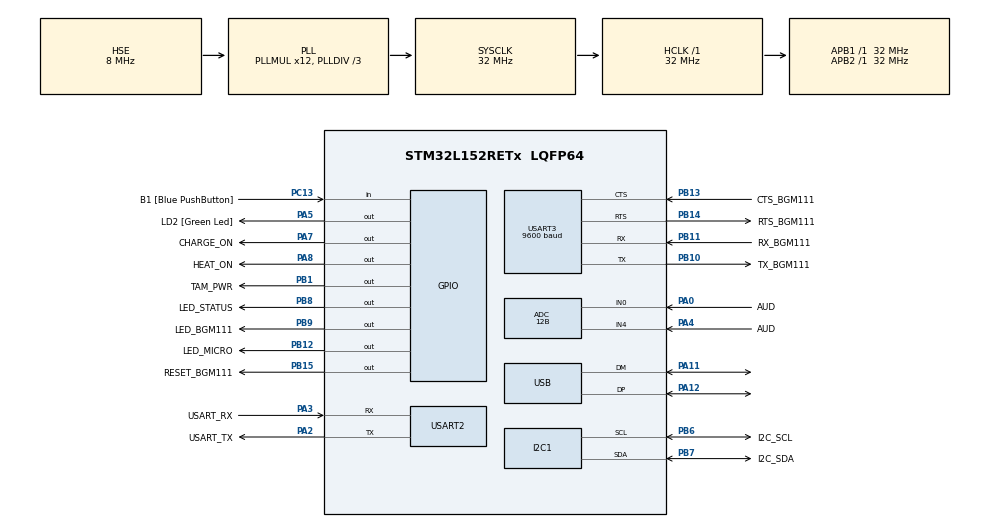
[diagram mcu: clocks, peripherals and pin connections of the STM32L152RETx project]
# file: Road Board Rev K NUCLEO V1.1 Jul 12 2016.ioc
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ADC.Channel-4\#ChannelRegularConversion=ADC_CHANNEL_0
ADC.ChannelsBank=ADC_CHANNELS_BANK_A
ADC.ClockPrescaler=ADC_CLOCK_ASYNC_DIV1
ADC.ContinuousConvMode=DISABLE
ADC.DMAContinuousRequests=DISABLE
ADC.DataAlign=ADC_DATAALIGN_RIGHT
ADC.DiscontinuousConvMode=DISABLE
ADC.EOCSelection=ADC_EOC_SEQ_CONV
ADC.EnableAnalogWatchDog=false
ADC.ExternalTrigConvEdge=ADC_EXTERNALTRIGCONVEDGE_NONE
ADC.InjNumberOfConversion=0
ADC.LowPowerAutoPowerOff=ADC_AUTOPOWEROFF_DISABLE
ADC.LowPowerAutoWait=ADC_AUTOWAIT_DISABLE
ADC.NbrOfConversion=1
ADC.NbrOfConversionFlag=1
ADC.Rank-4\#ChannelRegularConversion=1
ADC.Resolution=ADC_RESOLUTION_12B
ADC.SamplingTime-4\#ChannelRegularConversion=ADC_SAMPLETIME_4CYCLES
ADC.ScanConvMode=ADC_SCAN_DISABLE
Dma.ADC.0.Direction=DMA_PERIPH_TO_MEMORY
Dma.ADC.0.Instance=DMA1_Channel1
Dma.ADC.0.MemDataAlignment=DMA_MDATAALIGN_BYTE
Dma.ADC.0.MemInc=DMA_MINC_ENABLE
Dma.ADC.0.Mode=DMA_NORMAL
Dma.ADC.0.PeriphDataAlignment=DMA_PDATAALIGN_BYTE
Dma.ADC.0.PeriphInc=DMA_PINC_DISABLE
Dma.ADC.0.Priority=DMA_PRIORITY_VERY_HIGH
Dma.Request0=ADC
FREERTOS.Tasks01=defaultTask,0,128,StartDefaultTask,Default
Mcu.Family=STM32L1
Mcu.Name=STM32L152RETx
Mcu.Package=LQFP64
NVIC.DMA1_Channel1_IRQn=true\:5\:0\:false\:false\:true\:true
NVIC.PriorityGroup=NVIC_PRIORITYGROUP_4
NVIC.TIM4_IRQn=true\:0\:0\:false\:false\:true\:false
NVIC.TimeBase=TIM4_IRQn
NVIC.TimeBaseIP=TIM4
NVIC.USB_LP_IRQn=true\:5\:0\:false\:false\:true\:true
PA0-WKUP1.GPIO_Label=AUD
PA0-WKUP1.Mode=IN0
PA0-WKUP1.Signal=ADC_IN0
PA11.Mode=Device
PA11.Signal=USB_DM
PA12.Mode=Device
PA12.Signal=USB_DP
PA13.GPIO_Label=TMS
PA13.Mode=JTAG_4_pins
PA13.Signal=SYS_JTMS-SWDIO
PA14.GPIO_Label=TCK
PA14.Mode=JTAG_4_pins
PA14.Signal=SYS_JTCK-SWCLK
PA15.Mode=JTAG_4_pins
PA15.Signal=SYS_JTDI
PA2.GPIO_Label=USART_TX
PA2.Mode=Asynchronous
PA2.Signal=USART2_TX
PA3.GPIO_Label=USART_RX
PA3.Mode=Asynchronous
PA3.Signal=USART2_RX
PA4.GPIO_Label=AUD
PA4.Mode=IN4
PA4.Signal=ADC_IN4
PA5.GPIO_Label=LD2 [Green Led]
PA5.Signal=GPIO_Output
PA7.GPIO_Label=CHARGE_ON
PA7.Signal=GPIO_Output
PA8.GPIO_Label=HEAT_ON
PA8.Signal=GPIO_Output
PB1.GPIO_Label=TAM_PWR
PB1.Signal=GPIO_Output
PB10.GPIO_Label=TX_BGM111
PB10.Mode=Asynchronous
PB10.Signal=USART3_TX
PB11.GPIO_Label=RX_BGM111
PB11.Mode=Asynchronous
PB11.Signal=USART3_RX
PB12.GPIO_Label=LED_MICRO
PB12.Signal=GPIO_Output
PB13.GPIO_Label=CTS_BGM111
PB13.Mode=CTS_RTS
PB13.Signal=USART3_CTS
PB14.GPIO_Label=RTS_BGM111
PB14.Mode=CTS_RTS
PB14.Signal=USART3_RTS
PB15.GPIO_Label=RESET_BGM111
PB15.Signal=GPIO_Output
PB3.GPIO_Label=SWO
PB3.Mode=JTAG_4_pins
PB3.Signal=SYS_JTDO-TRACESWO
PB6.GPIO_Label=I2C_SCL
PB6.Mode=I2C
PB6.Signal=I2C1_SCL
PB7.GPIO_Label=I2C_SDA
PB7.Mode=I2C
PB7.Signal=I2C1_SDA
PB8.GPIO_Label=LED_STATUS
PB8.Signal=GPIO_Output
PB9.GPIO_Label=LED_BGM111
PB9.Signal=GPIO_Output
PC13-WKUP2.GPIO_Label=B1 [Blue PushButton]
PC13-WKUP2.Signal=GPIO_Input
PC14-OSC32_IN.GPIO_Label=NA
PC14-OSC32_IN.Signal=RCC_OSC32_IN
PC15-OSC32_OUT.GPIO_Label=NA
PC15-OSC32_OUT.Signal=RCC_OSC32_OUT
PH0-OSC_IN.Mode=HSE-External-Oscillator
PH0-OSC_IN.Signal=RCC_OSC_IN
PH1-OSC_OUT.Mode=HSE-External-Oscillator
PH1-OSC_OUT.Signal=RCC_OSC_OUT
ProjectManager.HeapSize=0x200
ProjectManager.StackSize=0x400
ProjectManager.TargetToolchain=EWARM
RCC.AHBFreq_Value=32000000
RCC.APB1Freq_Value=32000000
RCC.APB1TimFreq_Value=32000000
RCC.APB2Freq_Value=32000000
RCC.APB2TimFreq_Value=32000000
RCC.HCLKFreq_Value=32000000
RCC.HSE_VALUE=8000000
RCC.HSI_VALUE=16000000
RCC.LSE_VALUE=32768
RCC.MSI_VALUE=2097000
RCC.PLLDIV=RCC_PLL_DIV3
RCC.PLLMUL=RCC_PLL_MUL12
RCC.RTCClockSelectionVirtual=RCC_RTCCLKSOURCE_LSE
RCC.SYSCLKFreq_VALUE=32000000
RCC.SYSCLKSource=RCC_SYSCLKSOURCE_PLLCLK
RCC.USBOutput=48000000
RCC.VCOOutputFreq_Value=96000000
TIM2.Period=1000
TIM2.Prescaler=16000
TIM3.Period=2
TIM3.Prescaler=8000
USART3.BaudRate=9600
USB_DEVICE.CLASS_NAME_FS=CDC
USB_DEVICE.USBD_HandleTypeDef=hUsbDeviceFS
USB_DEVICE.VirtualMode=Cdc
USB_DEVICE.VirtualModeFS=Cdc_FS
VP_FREERTOS_VS_ENABLE.Mode=Enabled
VP_SYS_VS_tim4.Mode=TIM4
VP_TIM2_VS_ClockSourceINT.Mode=Internal
VP_TIM3_VS_ClockSourceINT.Mode=Internal
VP_USB_DEVICE_VS_USB_DEVICE_CDC_FS.Mode=CDC_FS
VP_WWDG_VS_WWDG.Mode=WWDG_Activate
WWDG.Prescaler=WWDG_PRESCALER_8
board=NUCLEO-L152RE

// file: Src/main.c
/**
  ******************************************************************************
  * File Name          : main.c
  * Description        : Main program body
  ******************************************************************************
  *
  * COPYRIGHT(c) 2016 STMicroelectronics
  *
  * Redistribution and use in source and binary forms, with or without modification,
  * are permitted provided that the following conditions are met:
  *   1. Redistributions of source code must retain the above copyright notice,
  *      this list of conditions and the following disclaimer.
  *   2. Redistributions in binary form must reproduce the above copyright notice,
  *      this list of conditions and the following disclaimer in the documentation
  *      and/or other materials provided with the distribution.
  *   3. Neither the name of STMicroelectronics nor the names of its contributors
  *      may be used to endorse or promote products derived from this software
  *      without specific prior written permission.
  *
  * THIS SOFTWARE IS PROVIDED BY THE COPYRIGHT HOLDERS AND CONTRIBUTORS "AS IS"
  * AND ANY EXPRESS OR IMPLIED WARRANTIES, INCLUDING, BUT NOT LIMITED TO, THE
  * IMPLIED WARRANTIES OF MERCHANTABILITY AND FITNESS FOR A PARTICULAR PURPOSE ARE
  * DISCLAIMED. IN NO EVENT SHALL THE COPYRIGHT HOLDER OR CONTRIBUTORS BE LIABLE
  * FOR ANY DIRECT, INDIRECT, INCIDENTAL, SPECIAL, EXEMPLARY, OR CONSEQUENTIAL
  * DAMAGES (INCLUDING, BUT NOT LIMITED TO, PROCUREMENT OF SUBSTITUTE GOODS OR
  * SERVICES; LOSS OF USE, DATA, OR PROFITS; OR BUSINESS INTERRUPTION) HOWEVER
  * CAUSED AND ON ANY THEORY OF LIABILITY, WHETHER IN CONTRACT, STRICT LIABILITY,
  * OR TORT (INCLUDING NEGLIGENCE OR OTHERWISE) ARISING IN ANY WAY OUT OF THE USE
  * OF THIS SOFTWARE, EVEN IF ADVISED OF THE POSSIBILITY OF SUCH DAMAGE.
  *
  ******************************************************************************
  */
#include "stm32l1xx_hal.h"
#include "cmsis_os.h"
#include "adc.h"
#include "dma.h"
#include "i2c.h"
#include "tim.h"
#include "usart.h"
#include "usb_device.h"
#include "wwdg.h"
#include "Flash.h"

/* USER CODE BEGIN Includes */
#include "stm32l1xx_nucleo.h"
#ifdef REV_L
  #include "bgm111.h"
  #include "app_data.h"
#endif
#include "gpio.h"
#include "main.h"
#include "parser.h"
#include "BootMonitor.h"
#include "stdbool.h"
#include "ErrorCodes.h"

/* USER CODE END Includes */

/* USER CODE BEGIN PV */
/* Private variables ---------------------------------------------------------*/

/* USER CODE END PV */

void SystemClock_Config(void);
void Error_Handler(void);
void MX_FREERTOS_Init(void);

/* USER CODE BEGIN PFP */
/* Private function prototypes -----------------------------------------------*/

/* USER CODE END PFP */

int main(void)
{
  /* USER CODE BEGIN 1 */
#define TEMP_BUFF2_SZ 80
  int x;
#ifdef TEST2
  #define RECEIVE_SZ      5
  uint8_t tempBffr[RECEIVE_SZ];
  char tempBffr2[5];
  HAL_StatusTypeDef Status;
#else
  #ifdef TEST
    #define RECEIVE_SZ      5
  #else
//HERE
    #define RECEIVE_SZ      125
    uint8_t tempBffr[RECEIVE_SZ];
    uint8_t tempBffr2[TEMP_BUFF2_SZ];
    HAL_StatusTypeDef Status;
  #endif
#endif

#ifdef REV_L
  //N uint16_t tmpSize = RECEIVE_SZ;
  //N uint8_t tmpData[2];
//  uint8_t tmpData[RECEIVE_SZ];
  Temperature   Temp;
#ifndef PATCH_UART
  bool firstTime = true;
#endif
  //N uint8_t *pData = tempBffr;
#endif

//ITStatus PStatus;

  /* USER CODE END 1 */

  /* MCU Configuration----------------------------------------------------------*/

#ifdef REV_L
  // Turn Off Power Supplies
  //RoadBrd_gpio_Off(gTAM_PWR);    // Turn Off 5V Power
  //RoadBrd_gpio_Off(gVDD_PWR);    // Turn Off 3.3V Power
#endif

  /* Reset of all peripherals, Initializes the Flash interface and the Systick. */
  HAL_Init();

  /* Configure the system clock */
  SystemClock_Config();

  /* Initialize all configured peripherals */
  MX_GPIO_Init();
  MX_DMA_Init();
  MX_ADC_Init();
  ADC_Config();
  MX_USART2_UART_Init();
  MX_USART3_UART_Init();
  MX_TIM2_Init();
  MX_TIM3_Init();

  /* USER CODE BEGIN 2 */
#ifdef REV_L
  // Wait for power to stabilize off...200msec
  //RoadBrd_Delay( 200 );
  // Turn on Power Supplies.
  RoadBrd_gpio_On(gTAM_PWR);    // Turn on 5V Power
  RoadBrd_gpio_On(gVDD_PWR);    // Turn on 3.3V Power
  // Wait for power to stabilize...200msec
  RoadBrd_Delay( 200 );
  // Reset all Drivers to Off before starting init process.
  Reset_DriverStates();

  // Enable Interrupts
  //---UART
  HAL_NVIC_EnableIRQ(USART2_IRQn);
  HAL_NVIC_EnableIRQ(USART3_IRQn);

  // Flush I2C Channel before testing...
  RoadBrd_I2CRepair();

  // Test I2C Channel and see if we even have a working I2C.
  RoadBrd_TestI2C();

  // Test for I2C Failure then attempt a repair.
  if ( !(Get_DriverStates( I2C_STATE )) )
  {
    if ((RoadBrd_I2CRepair()) == HAL_OK)
    {
      RdBrd_ErrCdLogErrCd( REPAIR_I2C, MODULE_main );
      Set_DriverStates( I2C_STATE, DRIVER_ON );
      // Now..Initialize I2C and test Drivers.
      MX_I2C1_Init();
    }
    else
    {
      // OK...It is hung.
      Set_DriverStates( I2C_STATE, DRIVER_OFF );
      RdBrd_ErrCdLogErrCd( ERROR_I2CBUSY, MODULE_main );
    }
  }
  else
  {
    // Now..Initialize I2C and test Drivers.
    MX_I2C1_Init();
  }

  //---I2C1
  HAL_NVIC_EnableIRQ(I2C1_EV_IRQn);
  HAL_NVIC_EnableIRQ(I2C1_ER_IRQn);
  //---TIM
#ifndef PATCH_UART
  HAL_TIM_StartTimer2();
  HAL_TIM_StartTimer3();
  HAL_NVIC_EnableIRQ(TIM2_IRQn);
  HAL_NVIC_EnableIRQ(TIM3_IRQn);
#endif
  // Test I2C State.

  // Test I2C Status and Task init I2C if Active driver.
  if ( !(Get_DriverStates( I2C_STATE )) )
  {
    // Wait 35  ms. For Busy flag to drop.
    if(I2C_WaitBusyFlag() != HAL_OK)
    {
      // One More try at repairing hung I2C Channel.
      if ((RoadBrd_I2CRepair()) == HAL_OK)
      {
        Set_DriverStates( I2C_STATE, DRIVER_ON );
        RdBrd_ErrCdLogErrCd( REPAIR_I2C, MODULE_main );
        // Now..Initialize I2C and test Drivers.
        MX_I2C1_Init();
      }
      else
      {
        // OK...It is hung.
        Set_DriverStates( I2C_STATE, DRIVER_OFF );
        RdBrd_ErrCdLogErrCd( ERROR_I2CBUSY, MODULE_main );
      }
    }
  }

  //BGM Initialization
#ifndef TEST2
#ifndef PATCH_UART
  BGM111_Init();
#else
  RoadBrd_gpio_Off(gRESET_BGM111);
#endif
#endif

  // Test I2C Status and Task init I2C if Active driver.
  if ( Get_DriverStates( I2C_STATE ) )
  {
    Status = RoadBrd_RGBInit();
    if (Status == HAL_OK)
    {
      Set_DriverStates( IRRADIANCE_MNTR_TASK, DRIVER_ON );
    }
    else
    {
      RdBrd_ErrCdLogErrCd( ERROR_RGB_INIT, MODULE_main );
      Set_DriverStates( IRRADIANCE_MNTR_TASK, DRIVER_OFF );
    }

    // Initialize Voltage Monitor Hardware
    Status = RoadBrd_Init_VMonitor();
    if (Status == HAL_OK)
    {
      Set_DriverStates( VOLTAGE_MNTR_TASK, DRIVER_ON );
    }
    else
    {
      RdBrd_ErrCdLogErrCd( ERROR_VMNTR_INIT, MODULE_main );
      Set_DriverStates( VOLTAGE_MNTR_TASK, DRIVER_OFF );
    }

    // Initialize Grid Eye Hardware
    Status = RoadBrd_GridEyeInit();
    if (Status == HAL_OK)
    {
      Set_DriverStates( GRIDEYE_MNTR_TASK, DRIVER_ON );
    }
    else
    {
      RdBrd_ErrCdLogErrCd( ERROR_GDEYE_INIT, MODULE_main );
      Set_DriverStates( GRIDEYE_MNTR_TASK, DRIVER_OFF );
      // OK, We have no Grid Eye...Do we have a Cool Eye?
      Status = RoadBrd_CoolEyeInit();
      if (Status == HAL_OK)
      {
        Set_DriverStates( COOLEYE_MNTR_TASK, DRIVER_ON );
      }
      else
      {
        RdBrd_ErrCdLogErrCd( ERROR_CLEYE_INIT, MODULE_main );
        Set_DriverStates( COOLEYE_MNTR_TASK, DRIVER_OFF );
      }
  }

    // Initialize Pressure Sensor Hardware
    Status = RoadBrd_Init_Barometer();
    if (Status == HAL_OK)
    {
      Set_DriverStates( PRESSURE_MNTR_TASK, DRIVER_ON );
    }
    else
    {
      RdBrd_ErrCdLogErrCd( ERROR_PRESSURE_INIT, MODULE_main );
      Set_DriverStates( PRESSURE_MNTR_TASK, DRIVER_OFF );
    }

    // Initialize Humidity Sensor Hardware
    Status = RoadBrd_HumidityInit();
    if (Status == HAL_OK)
    {
      Set_DriverStates( HUMIDITY_MNTR_TASK, DRIVER_ON );
    }
    else
    {
      RdBrd_ErrCdLogErrCd( ERROR_HUMIDITY_INIT, MODULE_main );
      Set_DriverStates( HUMIDITY_MNTR_TASK, DRIVER_OFF );
    }

    // Test Temperature Sensor Hardware
    Status = RoadBrd_ReadTemp( &Temp );
    if (Status == HAL_OK)
    {
      Set_DriverStates( TEMPERATURE_MNTR_TASK, DRIVER_ON );
    }
    else
    {
      RdBrd_ErrCdLogErrCd( ERROR_TEMP_INIT, MODULE_main );
      Set_DriverStates( TEMPERATURE_MNTR_TASK, DRIVER_OFF );
    }
  } //EndIf ( Get_DriverStates( I2C_STATE )

  // Initialize key app vars.
  InitSensors();
  RoadBrd_ParserInit();                         // This initializes the Parse Tasking Structure.
  RoadBrd_WWDG_InitializeDateString();          // Initialize Date Tag From Server as NULL.
  RoadBrd_WWDG_InitializeTickString();          // Initialize Tick Tag From as NULL.
  //**
  //**
  //** Initialize all Flash Structures.
  //**
  //**
  //*******1. Initializ WWDG Flash Structure
  // 1a. Is WWDG Flash Frame Initialized?
  if (RoadBrd_WWDG_VerifyFrame())
  {
    //Yes....Set FRAME_TASK Bit in Driver State Variable.
    Set_DriverStates( FRAME_TASK, DRIVER_ON );
  } // EndIf (RoadBrd_WWDG_VerifyFrame())
  else
  {
    //No....1b. Attempt to Initialize WWDG Flash Frame.
    if (RoadBrd_WWDG_InitializeFrmFlash() != HAL_OK)
    {
      //FAILED....Indicate Error Code and Fail Driver State.
      RdBrd_ErrCdLogErrCd( ERROR_FRAME_INIT, MODULE_main );
      Set_DriverStates( FRAME_TASK, DRIVER_OFF );
    }
    else
    {
      //SUCCESS....Set FRAME_TASK Bit in Driver State Variable.
      Set_DriverStates( FRAME_TASK, DRIVER_ON );
    }
  } // EndElse (RoadBrd_WWDG_VerifyFrame())

  //*******2. Initializ Calibration Flash Structure
  // 2a. Is Calibration Flash Frame Initialized?
  if (RoadBrd_CAL_VerifyFrame())
  {
    //Yes....Set CAL_TASK Bit in Driver State Variable.
    Set_DriverStates( CAL_TASK, DRIVER_ON );
  } // EndIf (RoadBrd_WWDG_VerifyFrame())
  else
  {
    //No....2b. Attempt to Initialize Structure Flash Structure.
    if (RoadBrd_CAL_InitializeFrmFlash() != HAL_OK)
    {
      //FAILED....Indicate Error Code and Fail Driver State.
      RdBrd_ErrCdLogErrCd( ERROR_CAL_INIT, MODULE_main );
      Set_DriverStates( CAL_TASK, DRIVER_OFF );
    }
    else
    {
      //SUCCESS....Set FRAME_TASK Bit in Driver State Variable.
      Set_DriverStates( CAL_TASK, DRIVER_ON );
    }
  } // EndElse (RoadBrd_WWDG_VerifyFrame())

// Initialize Key Vars once Flash has been validated.
  // Initialize Key Timer Sampling Vars.
  Set_TickCounts( RoadBrd_Get_RdSndTickCnt(), RoadBrd_Get_SnsrTickCnt() );

  // Time to start WWDG..
  HAL_NVIC_EnableIRQ(WWDG_IRQn);
  MX_WWDG_Init();
  RoadBrd_WWDG_Start();

#endif

#ifdef TASKING
  /* USER CODE END 2 */

  /* Call init function for freertos objects (in freertos.c) */
  MX_FREERTOS_Init();

  /* Start scheduler */
  osKernelStart();

  /* We should never get here as control is now taken by the scheduler */

  /* Infinite loop */
  /* USER CODE BEGIN WHILE */
#else

  #ifdef TEST
      // Turn On Bluetooth Interface for Debug.
      RoadBrd_gpio_On( gRESET_BGM111 );
  #else
//    #ifndef TEST2
      #ifdef ASCII
        // Send Opening Banner for Monitor Code.
        #ifdef NUCLEO
//        strcpy( (char *)tempBffr2, "*********************  WEATHERCLOUD *********************\r\n\r\n");
          strcpy( (char *)tempBffr2, "\r\n\r\n");
          // Send string to UART..
#ifdef REV_L
          Status = RoadBrd_UART_Transmit_IT(NUCLEO_USART, (uint8_t *)tempBffr2);
          // Wait for msg to be completed.
          while (RoadBrd_Uart_Status(NUCLEO_USART) != SET)
          {
            RoadBrd_WWDG_Refresh();     // Refresh WatchDog
          }
          // Clear State for Next Transfer.
          clrUsartState( NUCLEO_USART );
#else
          Status = RoadBrd_UART_Transmit(NUCLEO_USART, (uint8_t *)tempBffr2);
          RoadBrd_WWDG_Refresh();     // Refresh WatchDog
#endif
          if (Status != HAL_OK)
            Error_Handler();
          sprintf( (char *)tempBffr2, "     Road Board Monitor %s Hardware Version %s \r\n", VERSION_NUM, BRD_REV);
          //strcpy( (char *)tempBffr2, "     Road Board Monitor Rev K Hardware Version 1.0 \r\n");
          // Send string to UART..
#ifdef REV_L
          Status = RoadBrd_UART_Transmit_IT(NUCLEO_USART, (uint8_t *)tempBffr2);
          // Wait for msg to be completed.
          while (RoadBrd_Uart_Status(NUCLEO_USART) != SET)
          {
          }
          // Clear State for Next Transfer.
          clrUsartState( NUCLEO_USART );
#else
          Status = RoadBrd_UART_Transmit(NUCLEO_USART, (uint8_t *)tempBffr2);
#endif
          if (Status != HAL_OK)
            Error_Handler();
          sprintf( (char *)tempBffr2, "                  Copyright %s. \r\n\r\n", REL_DATE);
          //strcpy( (char *)tempBffr2, "                  Copyright August 9, 2016. \r\n\r\n\r\n> ");
          // Send string to UART..
          // *******Time to Build Extra Information...
#ifdef REV_L
          Status = RoadBrd_UART_Transmit_IT(NUCLEO_USART, (uint8_t *)tempBffr2);
          // Wait for msg to be completed.
          while (RoadBrd_Uart_Status(NUCLEO_USART) != SET)
          {
          }
          // Clear State for Next Transfer.
          clrUsartState( NUCLEO_USART );
#else
          Status = RoadBrd_UART_Transmit(NUCLEO_USART, (uint8_t *)tempBffr2);
#endif
          if (Status != HAL_OK)
            Error_Handler();
          sprintf( (char *)tempBffr2, "RdSnd Sample Rate:  %3.1f Seconds.\r\n", ((float)RoadBrd_Get_RdSndTickCnt()/10));
#ifdef REV_L
          Status = RoadBrd_UART_Transmit_IT(NUCLEO_USART, (uint8_t *)tempBffr2);
          // Wait for msg to be completed.
          while (RoadBrd_Uart_Status(NUCLEO_USART) != SET)
          {
          }
          // Clear State for Next Transfer.
          clrUsartState( NUCLEO_USART );
#else
          Status = RoadBrd_UART_Transmit(NUCLEO_USART, (uint8_t *)tempBffr2);
#endif
          if (Status != HAL_OK)
            Error_Handler();
          sprintf( (char *)tempBffr2, "Sensor Sample Rate: %3.1f Seconds.\r\n\r\n> ", ((float)RoadBrd_Get_SnsrTickCnt()/10));
#ifdef REV_L
          Status = RoadBrd_UART_Transmit_IT(NUCLEO_USART, (uint8_t *)tempBffr2);
          // Wait for msg to be completed.
          while (RoadBrd_Uart_Status(NUCLEO_USART) != SET)
          {
          }
          // Clear State for Next Transfer.
          clrUsartState( NUCLEO_USART );
#else
          Status = RoadBrd_UART_Transmit(NUCLEO_USART, (uint8_t *)tempBffr2);
#endif
          if (Status != HAL_OK)
            Error_Handler();
        #else
          strcpy( (char *)tempBffr2, "*********************  WEATHERCLOUD *********************\r\n\r\n");
          // Send string to UART..
#ifdef REV_L
          Status = RoadBrd_UART_Transmit_IT(MONITOR_UART, (uint8_t *)tempBffr2);
          // Wait for msg to be completed.
          while (RoadBrd_Uart_Status(MONITOR_UART) != SET)
          {
            RoadBrd_WWDG_Refresh();     // Refresh WatchDog
          }
          // Clear State for Next Transfer.
          clrUsartState( MONITOR_UART );
#else
          Status = RoadBrd_UART_Transmit(MONITOR_UART, (uint8_t *)tempBffr2);
          RoadBrd_WWDG_Refresh();     // Refresh WatchDog
#endif
          if (Status != HAL_OK)
            Error_Handler();
          sprintf( (char *)tempBffr2, "     Road Board Monitor %s Hardware Version %s \r\n", VERSION_NUM, BRD_REV);
          //strcpy( (char *)tempBffr2, "     Road Board Monitor Rev K Hardware Version 1.0 \r\n");
          // Send string to UART..
#ifdef REV_L
          Status = RoadBrd_UART_Transmit_IT(MONITOR_UART, (uint8_t *)tempBffr2);
          // Wait for msg to be completed.
          while (RoadBrd_Uart_Status(MONITOR_UART) != SET)
          {
            RoadBrd_WWDG_Refresh();     // Refresh WatchDog
          }
          // Clear State for Next Transfer.
          clrUsartState( MONITOR_UART );
#else
          Status = RoadBrd_UART_Transmit(MONITOR_UART, (uint8_t *)tempBffr2);
          RoadBrd_WWDG_Refresh();     // Refresh WatchDog
#endif
          if (Status != HAL_OK)
            Error_Handler();
          sprintf( (char *)tempBffr2, "                  Copyright %s. \r\n\r\n", REL_DATE);
          //strcpy( (char *)tempBffr2, "                  Copyright August 9, 2016. \r\n\r\n\r\n> ");
          // Send string to UART..
#ifdef REV_L
          Status = RoadBrd_UART_Transmit_IT(MONITOR_UART, (uint8_t *)tempBffr2);
          // Wait for msg to be completed.
          while (RoadBrd_Uart_Status(MONITOR_UART) != SET)
          {
            RoadBrd_WWDG_Refresh();     // Refresh WatchDog
          }
          // Clear State for Next Transfer.
          clrUsartState( MONITOR_UART );
#else
          Status = RoadBrd_UART_Transmit(MONITOR_UART, (uint8_t *)tempBffr2);
          RoadBrd_WWDG_Refresh();     // Refresh WatchDog
#endif
          if (Status != HAL_OK)
            Error_Handler();
          // *******Time to Build Extra Information...
          sprintf( (char *)tempBffr2, "RdSnd Sample Rate:  %3.1f Seconds.\r\n", ((float)RoadBrd_Get_RdSndTickCnt()/10));
#ifdef REV_L
          Status = RoadBrd_UART_Transmit_IT(NUCLEO_USART, (uint8_t *)tempBffr2);
          // Wait for msg to be completed.
          while (RoadBrd_Uart_Status(NUCLEO_USART) != SET)
          {
          }
          // Clear State for Next Transfer.
          clrUsartState( NUCLEO_USART );
#else
          Status = RoadBrd_UART_Transmit(NUCLEO_USART, (uint8_t *)tempBffr2);
#endif
          if (Status != HAL_OK)
            Error_Handler();
          sprintf( (char *)tempBffr2, "Sensor Sample Rate: %3.1f Seconds.\r\n", ((float)RoadBrd_Get_SnsrTickCnt()/10));
#ifdef REV_L
          Status = RoadBrd_UART_Transmit_IT(NUCLEO_USART, (uint8_t *)tempBffr2);
          // Wait for msg to be completed.
          while (RoadBrd_Uart_Status(NUCLEO_USART) != SET)
          {
          }
          // Clear State for Next Transfer.
          clrUsartState( NUCLEO_USART );
#else
          Status = RoadBrd_UART_Transmit(NUCLEO_USART, (uint8_t *)tempBffr2);
#endif
          if (Status != HAL_OK)
            Error_Handler();
          // Clear Buffer
          for (x=0; x<TEMP_BUFF2_SZ; x++)
            tempBffr2[x] = 0x00;
          sprintf( (char *)tempBffr2, "TACK Limit: %d.\r\n", RoadBrd_Get_TackLimit() );
#ifdef REV_L
          Status = RoadBrd_UART_Transmit_IT(NUCLEO_USART, (uint8_t *)tempBffr2);
          // Wait for msg to be completed.
          while (RoadBrd_Uart_Status(NUCLEO_USART) != SET)
          {
          }
          // Clear State for Next Transfer.
          clrUsartState( NUCLEO_USART );
#else
          Status = RoadBrd_UART_Transmit(NUCLEO_USART, (uint8_t *)tempBffr2);
#endif
          if (Status != HAL_OK)
            Error_Handler();
          sprintf( (char *)tempBffr2, "Boot Delay: %d Seconds.\r\n", RoadBrd_Get_BootDelay() );
#ifdef REV_L
          Status = RoadBrd_UART_Transmit_IT(NUCLEO_USART, (uint8_t *)tempBffr2);
          // Wait for msg to be completed.
          while (RoadBrd_Uart_Status(NUCLEO_USART) != SET)
          {
          }
          // Clear State for Next Transfer.
          clrUsartState( NUCLEO_USART );
#else
          Status = RoadBrd_UART_Transmit(NUCLEO_USART, (uint8_t *)tempBffr2);
#endif
          if (Status != HAL_OK)
            Error_Handler();
          // Now Display the Units Enabled State.
          if (RoadBrd_Get_UnitsFlag())
          {
            sprintf( (char *)tempBffr2, "Units XML State: ENABLED\r\n\r\n> ");
          }
          else
          {
            sprintf( (char *)tempBffr2, "Units XML State: DISABLED\r\n\r\n> ");
          }
#ifdef REV_L
          Status = RoadBrd_UART_Transmit_IT(NUCLEO_USART, (uint8_t *)tempBffr2);
          // Wait for msg to be completed.
          while (RoadBrd_Uart_Status(NUCLEO_USART) != SET)
          {
          }
          // Clear State for Next Transfer.
          clrUsartState( NUCLEO_USART );
#else
          Status = RoadBrd_UART_Transmit(NUCLEO_USART, (uint8_t *)tempBffr2);
#endif
          if (Status != HAL_OK)
            Error_Handler();
#ifdef BUG_ENABLE
          SCB->CCR |= 0x10;
          int a = 10;
          int b = 0;
          int c;
          c = a/b;
          sprintf( (char *)tempBffr2, "Bug Value Dump: %d\r\n\r\n> ",c);
  #ifdef REV_L
          Status = RoadBrd_UART_Transmit_IT(NUCLEO_USART, (uint8_t *)tempBffr2);
          // Wait for msg to be completed.
          while (RoadBrd_Uart_Status(NUCLEO_USART) != SET)
          {
          }
          // Clear State for Next Transfer.
          clrUsartState( NUCLEO_USART );
  #else
          Status = RoadBrd_UART_Transmit(NUCLEO_USART, (uint8_t *)tempBffr2);
  #endif
#endif
       #endif
//      #endif
    #endif
  #endif
  while (1)
  {
  /* USER CODE END WHILE */

  /* USER CODE BEGIN 3 */
  /****************************************************************************
    * TEST CODE....Blinks LEDs for both Road Board and Nucleo Board.
    **************************************************************************/
  #ifdef TEST
    #ifdef NUCLEO
      // Turn On NUCLEO_LED_GREEN LED.
      RoadBrd_gpio_On( NUCLEO_LED_GREEN );
      // Wait 500msec.
      RoadBrd_Delay( 500 );
      // Turn Off NUCLEO_LED_GREEN LED.
      RoadBrd_gpio_Off( NUCLEO_LED_GREEN );
    #else
      // Turn On Blue LED and turn off Yellow LED.
      RoadBrd_gpio_On( BLUE_LED );
      RoadBrd_gpio_Off( YELLOW_LED );
      // Wait 500msec.
      RoadBrd_Delay( 500 );
      // Turn On Green LED and turn off Blue LED.
      RoadBrd_gpio_On( GREEN_LED );
      RoadBrd_gpio_Off( BLUE_LED );
      // Wait 500msec.
      RoadBrd_Delay( 500 );
      // Turn On Yellow LED and turn off Green LED.
      RoadBrd_gpio_On( YELLOW_LED );
      RoadBrd_gpio_Off( GREEN_LED );
    #endif
    // Wait 500msec.
    RoadBrd_Delay( 500 );
  //******************Endif TEST
  #else
  //******************Else TEST

  /****************************************************************************
   * TEST2 CODE....Reads COM port and translates back to sender. Simple COMM test.
   **************************************************************************/
    #ifdef TEST2
      #ifdef NUCLEO
        // Turn Off NUCLEO_LED_GREEN LED.
        RoadBrd_gpio_Off( NUCLEO_LED_GREEN );
        // Wait on a character from Nucleo COM Port.
#ifdef REV_L
        Status = RoadBrd_UART_Receive_IT(NUCLEO_USART, tempBffr, 1);
        // Wait for msg to be completed.
        while (RoadBrd_Uart_Status(NUCLEO_USART) != SET)
        {
        }
        // Clear State for Next Transfer.
        clrUsartState( NUCLEO_USART );
#else
        Status = RoadBrd_UART_Receive(NUCLEO_USART, tempBffr, 1);
#endif
        // Turn On NUCLEO_LED_GREEN LED.
        RoadBrd_gpio_On( NUCLEO_LED_GREEN );
        switch(  Status)
        {
          case HAL_OK:
            // We have a good character. Time to build a response string.
            tempBffr2[0] = '(';
            tempBffr2[1] = tempBffr[0];
            tempBffr2[2] = ')';
            tempBffr2[3] = 0x00;
            // Send string to UART..
#ifdef REV_L
            Status = RoadBrd_UART_Transmit_IT(NUCLEO_USART, (uint8_t *)tempBffr2);
            // Wait for msg to be completed.
            while (RoadBrd_Uart_Status(NUCLEO_USART) != SET)
            {
            }
            // Clear State for Next Transfer.
            clrUsartState( NUCLEO_USART );
#else
            Status = RoadBrd_UART_Transmit(NUCLEO_USART, (uint8_t *)tempBffr2);
#endif
            if (Status != HAL_OK)
              Error_Handler();
            /*Status = RoadBrd_UART_Transmit_IT(NUCLEO_USART, (uint8_t *)tempBffr2);
            if (Status != HAL_OK)
              Error_Handler();
            // Now wait for completion of Transmit
            PStatus = RESET;
            while (PStatus == RESET)
            {
              PStatus = RoadBrd_Uart_Status(NUCLEO_USART);
            } */
            break;
          case HAL_ERROR:
            // ERROR. We are done.
            Error_Handler();
            break;
          case HAL_BUSY:
            // ERROR. We are done.
            Error_Handler();
            break;
          case HAL_TIMEOUT:
            // Nothing to do. Try again.
            break;
          default:
            // ERROR. We are done.
            Error_Handler();
            break;

        }
      // Wait 500msec.
      RoadBrd_Delay( 50 );
      #else
        // Turn Off BGM_LED LED.
        RoadBrd_gpio_Off( BGM_LED );
        // Wait on a character from Nucleo COM Port.
 #ifdef REV_L
        Status = RoadBrd_UART_Receive_IT(MONITOR_UART, tempBffr, 1);
        // Wait for msg to be completed.
        while (RoadBrd_Uart_Status(MONITOR_UART) != SET)
        {
        }
        // Clear State for Next Transfer.
        clrUsartState( MONITOR_UART );
#else
        Status = RoadBrd_UART_Receive(MONITOR_UART, tempBffr, 1);
#endif
        // Turn On BGM_LED LED.
        RoadBrd_gpio_On( BGM_LED );
        switch(  Status)
        {
          case HAL_OK:
            // We have a good character. Time to build a response string.
            tempBffr2[0] = '(';
            tempBffr2[1] = tempBffr[0];
            tempBffr2[2] = ')';
            tempBffr2[3] = 0x00;
            // Send string to UART..
#ifdef REV_L
            Status = RoadBrd_UART_Transmit_IT(MONITOR_UART, (uint8_t *)tempBffr2);
            // Wait for msg to be completed.
            while (RoadBrd_Uart_Status(MONITOR_UART) != SET)
            {
            }
            // Clear State for Next Transfer.
            clrUsartState( MONITOR_UART );
#else
            Status = RoadBrd_UART_Transmit(MONITOR_UART, (uint8_t *)tempBffr2);
#endif
            if (Status != HAL_OK)
              Error_Handler();
            /*Status = RoadBrd_UART_Transmit_IT(NUCLEO_USART, (uint8_t *)tempBffr2);
            if (Status != HAL_OK)
              Error_Handler();
            // Now wait for completion of Transmit
            PStatus = RESET;
            while (PStatus == RESET)
            {
              PStatus = RoadBrd_Uart_Status(NUCLEO_USART);
            } */
            break;
          case HAL_ERROR:
            // ERROR. We are done.
            Error_Handler();
            break;
          case HAL_BUSY:
            // ERROR. We are done.
            Error_Handler();
            break;
          case HAL_TIMEOUT:
            // Nothing to do. Try again.
            break;
          default:
            // ERROR. We are done.
            Error_Handler();
            break;

        }
      // Wait 500msec.
      RoadBrd_Delay( 50 );
      #endif
    //******************Endif TEST2
    #else
    //******************Else TEST2
  /*****************************************************************************
   *    NORMAL FLOW HERE
   ****************************************************************************/
//         RoadBrd_gpio_Off( NUCLEO_LED_GREEN );
//         Status = RoadBrd_UART_Receive(NUCLEO_USART, tempBffr, 1);
      #ifdef NUCLEO

      //************************* NUCLEO VERSION *************************************
         // Turn Off NUCLEO_LED_GREEN LED.
        RoadBrd_gpio_Off( NUCLEO_LED_GREEN );
        // Wait on a character from Nucleo COM Port.
#ifdef REV_L
        tmpSize = Size;
        pData = tempBffr;
        while ( tmpSize>0 )
        {
          Status = RoadBrd_UART_Receive_IT(NUCLEO_USART, tempBffr, RECEIVE_SZ);
          // Wait for msg to be completed.
          while (RoadBrd_Uart_Status(NUCLEO_USART) != SET)
          {
          }
          // Clear State for Next Transfer.
          clrUsartState( NUCLEO_USART );
          if(Status == HAL_OK)
          {
            // Watch for termination characters.
            if((tmpData[0]==0x0a) || (tmpData[0]==0x0d))
            {
              *pData = 0x00;
              // Yes..We are done.
              return Status;
            }
            else
            {
              // Move new character into passed buffer.
              *pData = tmpData[0];
              tmpSize--;                          // Decrement Count
              pData++;                            // Move pointer to next buffer location.
            }
          }
          else
            Error_Handler();
        } // EndWhile ( tmpSize>0 )
#else
        Status = RoadBrd_UART_Receive(NUCLEO_USART, tempBffr, RECEIVE_SZ);
#endif
        // Turn On NUCLEO_LED_GREEN LED.
#ifndef LED_OFF
        RoadBrd_gpio_On( NUCLEO_LED_GREEN );
#endif
#ifdef ASCII
        // Send <CR><LF> to UART..
        strcpy( (char *)tempBffr2, "\r\n");
#ifdef REV_L
            Status = RoadBrd_UART_Transmit_IT(NUCLEO_USART, (uint8_t *)tempBffr2);
            // Wait for msg to be completed.
            while (RoadBrd_Uart_Status(NUCLEO_USART) != SET)
            {
            }
            // Clear State for Next Transfer.
            clrUsartState( NUCLEO_USART );
#else
        Status = RoadBrd_UART_Transmit(NUCLEO_USART, (uint8_t *)tempBffr2);
#endif
        if (Status != HAL_OK)
          Error_Handler();
#endif
        switch(  Status )
        {
          case HAL_OK:
            Status = RoadBrd_ParseString((char *)tempBffr);
            // We have a good Tasking String. Time to determine action.
            if (Status != HAL_OK)
              Error_Handler();

            break;
          case HAL_ERROR:
            // ERROR. We are done.
            Error_Handler();
            break;
          case HAL_BUSY:
            // ERROR. We are done.
            Error_Handler();
            break;
          case HAL_TIMEOUT:
            // Nothing to do. Try again.
            break;
          default:
            // ERROR. We are done.
            Error_Handler();
            break;
        }
      // Wait 500msec.
      RoadBrd_Delay( 50 );
      //************************* END NUCLEO VERSION *************************************

      #else

      //************************* ROAD BRD VERSION *************************************
        // Wait on a character from Nucleo COM Port.
//********************PATCH_UART ACTIVE*******************************************
#ifdef PATCH_UART
#ifdef REV_L
        // Turn Off MICRO_LED LED.
        RoadBrd_gpio_Off( MICRO_LED );
        tmpSize = RECEIVE_SZ;
        pData = tempBffr;
        while ( tmpSize>0 )
        {
          Status = RoadBrd_UART_Receive_IT(MONITOR_UART, tempBffr, RECEIVE_SZ);
          // Wait for msg to be completed.
          while (RoadBrd_Uart_Status(MONITOR_UART) != SET)
          {
           }
          // Clear State for Next Transfer.
          clrUsartState( MONITOR_UART );
          if(Status == HAL_OK)
          {
            // Watch for termination characters.
            if((tmpData[0]==0x0a) || (tmpData[0]==0x0d))
            {
              *pData = 0x00;
              // Yes..We are done.
              break;
            }
            else
            {
              // Move new character into passed buffer.
              *pData = tmpData[0];
              tmpSize--;                          // Decrement Count
              pData++;                            // Move pointer to next buffer location.
            }
          }
          else
            Error_Handler();
        } // EndWhile ( tmpSize>0 )
#ifndef LED_OFF
        RoadBrd_gpio_On( MICRO_LED );
#endif
        // Send <CR><LF> to UART..
        strcpy( (char *)tempBffr2, "\r\n");
        Status = RoadBrd_UART_Transmit(MONITOR_UART, (uint8_t *)tempBffr2);
        if (Status != HAL_OK)
          Error_Handler();
        switch(  Status )
        {
          case HAL_OK:
            // We have a good Tasking String. Time to determine action.
            Status = RoadBrd_ParseString((char *)tempBffr);
            // We have a good Tasking String. Time to determine action.
            if (Status != HAL_OK)
              Error_Handler();
            break;
          case HAL_ERROR:
            // ERROR. We are done.
            Error_Handler();
            break;
          case HAL_BUSY:
            // ERROR. We are done.
            Error_Handler();
            break;
          case HAL_TIMEOUT:
            // Nothing to do. Try again.
            break;
          default:
            // ERROR. We are done.
            Error_Handler();
            break;

        } // EndSwitch (  Status )
#else
        // Turn Off BGM_LED LED.
        RoadBrd_gpio_Off( MICRO_LED );
        Status = RoadBrd_UART_Receive(MONITOR_UART, tempBffr, RECEIVE_SZ);
        // Process Buffer Now.
        // Turn On BGM_LED LED.
#ifndef LED_OFF
        RoadBrd_gpio_On( MICRO_LED );
#endif
        // Send <CR><LF> to UART..
        strcpy( (char *)tempBffr2, "\r\n");
#ifdef REV_L
            Status = RoadBrd_UART_Transmit_IT(MONITOR_UART, (uint8_t *)tempBffr2);
            // Wait for msg to be completed.
            while (RoadBrd_Uart_Status(MONITOR_UART) != SET)
            {
            }
            // Clear State for Next Transfer.
            clrUsartState( MONITOR_UART );
#else
        Status = RoadBrd_UART_Transmit(MONITOR_UART, (uint8_t *)tempBffr2);
#endif
        if (Status != HAL_OK)
          Error_Handler();
        switch(  Status )
        {
          case HAL_OK:
            // We have a good Tasking String. Time to determine action.
            Status = RoadBrd_ParseString((char *)tempBffr, false);
            // We have a good Tasking String. Time to determine action.
            if (Status != HAL_OK)
              Error_Handler();
            break;
          case HAL_ERROR:
            // ERROR. We are done.
            Error_Handler();
            break;
          case HAL_BUSY:
            // ERROR. We are done.
            Error_Handler();
            break;
          case HAL_TIMEOUT:
            // Nothing to do. Try again.
            break;
          default:
            // ERROR. We are done.
            Error_Handler();
            break;

        } // EndSwitch (  Status )
#endif
//********************END PATCH_UART ACTIVE*******************************************
#else
//********************PATCH_UART NOT ACTIVE*******************************************
#ifdef REV_L
          /* Process BLE input */
          BGM111_ProcessInput();

          // Process Timer Stimulus for Timer 2.
          Status = Proc_Timer2();
          if(Status != HAL_OK)
          {
            strcpy( (char *)tempBffr2, "BGM111_ProcessInput ERROR: Sensors reported Background error.\r\n");
#ifdef NUCLEO
            Status = RoadBrd_UART_Transmit(NUCLEO_USART, (uint8_t *)tempBffr2);
#else
            Status = RoadBrd_UART_Transmit(MONITOR_UART, (uint8_t *)tempBffr2);
#endif
            if (Status != HAL_OK)
              Error_Handler();
          }
          // Process any Outstanding Parse Tasks.
          RoadBrd_ProcessParserTsk();

          // Test to process CMD mode.
          Process_CmdMode();

          /* Process the sensor state machine if the BLE module is ready */
            if ((BGM111_Ready()) &&
                (BGM111_Connected()) &&
                (BGM111_DataConnected()) &&
                (BGM111_SyncModeTest()) )
          {
            ProcessSensorState();
            Process_RdSound();
          }
          /* Sleep when we have nothing to process */
          //PWR_EnterSleepMode(PWR_Regulator_ON, PWR_SLEEPEntry_WFI);
          // Only Process the first Time
          if (firstTime)
          {
            firstTime = false;
            Status = RoadBrd_UART_Receive_IT(MONITOR_UART, tempBffr, RECEIVE_SZ);
            // Enable BGM Serial Traffic.
            HAL_UART_EnableBGM_RX();
            RoadBrd_SetBffrFlg();
            // Clear bffrFlag..Only Processing one character.
//            bffrFlag = false;
            // Turn Off BGM_LED and MICRO_LED.
            RoadBrd_gpio_Off( MICRO_LED );
          }
          // Service Watchdog
          RoadBrd_WWDG_Refresh();     // Refresh WatchDog
          // Wait for msg to be completed.
          while (RoadBrd_Uart_Status(MONITOR_UART) != SET)
          {
            // Process Timer Stimulus for Timer 2.
            Status = Proc_Timer2();
            if(Status != HAL_OK)
            {
              strcpy( (char *)tempBffr2, "BGM111_ProcessInput ERROR: Sensors reported Background error.\r\n");
#ifdef NUCLEO
              Status = RoadBrd_UART_Transmit(NUCLEO_USART, (uint8_t *)tempBffr2);
#else
              Status = RoadBrd_UART_Transmit(MONITOR_UART, (uint8_t *)tempBffr2);
#endif
              if (Status != HAL_OK)
                Error_Handler();
            }
            // Process any Outstanding Parse Tasks.
            RoadBrd_ProcessParserTsk();

            // Test to process CMD mode.
            Process_CmdMode();

            /* Process the sensor state machine if the BLE module is ready */
            if ((BGM111_Ready()) &&
                (BGM111_Connected()) &&
                (BGM111_DataConnected()) &&
                (BGM111_SyncModeTest()) )
            {
              // Service Watchdog
              RoadBrd_WWDG_Refresh();     // Refresh WatchDog
              ProcessSensorState();
              Process_RdSound();
            }
            // Test to see if we have any BGM Traffic to process.
            //BGM111_ProcessInput();
          }
          // Test if BGM or Monitor Character received.
          if (RoadBrd_Uart_Status(MONITOR_UART) == SET)
          {
            // Clear State for Next Transfer.
            clrUsartState( MONITOR_UART );
            if(Status == HAL_OK)
            {
//***** START HERE
              // Test Boot Monitor Flag...If Set, we ae in special Boot monitor mode.
              if (Tst_Boot_Bypass())
              {
                // We have a good Tasking String. Time to determine action.
                // Turn On BGM_LED LED.
  #ifndef LED_OFF
                RoadBrd_gpio_On( GREEN_LED );
  #endif
                Status = Parse_BootString((char *)tempBffr, false);
                // We have a good Tasking String. Time to determine action.
                if (Status != HAL_OK)
                  Error_Handler();
              } // EndIf (Tst_Bypass())
              // Test Bypass Flag...If Set, we ae in special monitor mode.
              else if (Tst_Bypass())
              {
                // We have a good Tasking String. Time to determine action.
                // Turn On BGM_LED LED.
  #ifndef LED_OFF
                RoadBrd_gpio_On( GREEN_LED );
  #endif
                Status = RoadBrd_ParseString((char *)tempBffr, false);
                // We have a good Tasking String. Time to determine action.
                if (Status != HAL_OK)
                  Error_Handler();
              } // EndIf (Tst_Bypass())
              else {
                // Yes..We are done.
                // Process Buffer NOW.
                // Send <CR><LF> to UART..
                strcpy( (char *)tempBffr2, "\r\n");
                Status = RoadBrd_UART_Transmit_IT(MONITOR_UART, (uint8_t *)tempBffr2);
                // Wait for msg to be completed.
                while (RoadBrd_Uart_Status(MONITOR_UART) != SET)
                {
                }
                // Clear State for Next Transfer.
                clrUsartState( MONITOR_UART );
                if (Status != HAL_OK)
                  Error_Handler();
                if(Status == HAL_OK)
                {
                  // We have a good Tasking String. Time to determine action.
                  // Turn On BGM_LED LED.
  #ifndef LED_OFF
                  RoadBrd_gpio_On( GREEN_LED );
  #endif
                  Status = RoadBrd_ParseString((char *)tempBffr, false);
                  // We have a good Tasking String. Time to determine action.
                  if (Status != HAL_OK)
                    Error_Handler();
                }
                else
                  Error_Handler();
              } // EndElse (Tst_Bypass())
            }
//***** END HERE
            else
              Error_Handler();
          Status = RoadBrd_UART_Receive_IT(MONITOR_UART, tempBffr, RECEIVE_SZ);
          // Turn Off MICRO_LED.
          RoadBrd_gpio_Off( MICRO_LED );
        } // EndIf (RoadBrd_Uart_Status(MONITOR_UART) == SET)

#else
        // Turn Off BGM_LED LED.
        RoadBrd_gpio_Off( MICRO_LED );
        Status = RoadBrd_UART_Receive(MONITOR_UART, tempBffr, RECEIVE_SZ);
        // Turn On BGM_LED LED.
#ifndef LED_OFF
        RoadBrd_gpio_On( MICRO_LED );
#endif
        // Send <CR><LF> to UART..
        strcpy( (char *)tempBffr2, "\r\n");
        Status = RoadBrd_UART_Transmit(MONITOR_UART, (uint8_t *)tempBffr2);
        if (Status != HAL_OK)
          Error_Handler();
        switch(  Status )
        {
          case HAL_OK:
            // We have a good Tasking String. Time to determine action.
            Status = RoadBrd_ParseString((char *)tempBffr, false);
            // We have a good Tasking String. Time to determine action.
            if (Status != HAL_OK)
              Error_Handler();
            break;
          case HAL_ERROR:
            // ERROR. We are done.
            Error_Handler();
            break;
          case HAL_BUSY:
            // ERROR. We are done.
            Error_Handler();
            break;
          case HAL_TIMEOUT:
            // Nothing to do. Try again.
            break;
          default:
            // ERROR. We are done.
            Error_Handler();
            break;

        } // EndSwitch (  Status )
#endif
//********************END PATCH_UART NOT ACTIVE*******************************************
#endif
      // Wait 50msec.
      RoadBrd_Delay( 50 );
      //************************* END Road BRD VERSION *************************************
      #endif
  /*****************************************************************************
   *    END NORMAL FLOW HERE
   ****************************************************************************/
    //******************EndElse TEST2
    #endif

  //******************EndElse TEST
  #endif
  } // EndWhile (1)
//********************ENDIF TASKING
#endif
  /* USER CODE END 3 */

}

/** System Clock Configuration
*/
void SystemClock_Config(void)
{

  RCC_OscInitTypeDef RCC_OscInitStruct;
  RCC_ClkInitTypeDef RCC_ClkInitStruct;

  __HAL_RCC_PWR_CLK_ENABLE();

  __HAL_PWR_VOLTAGESCALING_CONFIG(PWR_REGULATOR_VOLTAGE_SCALE1);

  RCC_OscInitStruct.OscillatorType = RCC_OSCILLATORTYPE_HSI|RCC_OSCILLATORTYPE_HSE;
  RCC_OscInitStruct.HSEState = RCC_HSE_ON;
  RCC_OscInitStruct.HSIState = RCC_HSI_ON;
  RCC_OscInitStruct.HSICalibrationValue = 16;
  RCC_OscInitStruct.PLL.PLLState = RCC_PLL_ON;
  RCC_OscInitStruct.PLL.PLLSource = RCC_PLLSOURCE_HSE;
  RCC_OscInitStruct.PLL.PLLMUL = RCC_PLL_MUL12;
  RCC_OscInitStruct.PLL.PLLDIV = RCC_PLL_DIV3;
  if (HAL_RCC_OscConfig(&RCC_OscInitStruct) != HAL_OK)
  {
    Error_Handler();
  }

  RCC_ClkInitStruct.ClockType = RCC_CLOCKTYPE_HCLK|RCC_CLOCKTYPE_SYSCLK
                              |RCC_CLOCKTYPE_PCLK1|RCC_CLOCKTYPE_PCLK2;
  RCC_ClkInitStruct.SYSCLKSource = RCC_SYSCLKSOURCE_PLLCLK;
  RCC_ClkInitStruct.AHBCLKDivider = RCC_SYSCLK_DIV1;
  RCC_ClkInitStruct.APB1CLKDivider = RCC_HCLK_DIV1;
  RCC_ClkInitStruct.APB2CLKDivider = RCC_HCLK_DIV1;
  if (HAL_RCC_ClockConfig(&RCC_ClkInitStruct, FLASH_LATENCY_1) != HAL_OK)
  {
    Error_Handler();
  }

  HAL_SYSTICK_Config(HAL_RCC_GetHCLKFreq()/1000);

  HAL_SYSTICK_CLKSourceConfig(SYSTICK_CLKSOURCE_HCLK);

  /* SysTick_IRQn interrupt configuration */
  HAL_NVIC_SetPriority(SysTick_IRQn, 15, 0);
}

void Error_Handler(void)
{
  /* USER CODE BEGIN Error_Handler */
  /* User can add his own implementation to report the HAL error return state */
  // Turn LED2 on
#ifdef NUCLEO
  BSP_LED_On(LED2);
#else
  RoadBrd_LED_On(BLUE_LED);
  RoadBrd_LED_On(GREEN_LED);
  RoadBrd_LED_On(YELLOW_LED);
#endif
  while(1)
  {
    // Error if LED2 is slowly blinking (1 sec. period)
#ifdef NUCLEO
    BSP_LED_Toggle(LED2);
#else
    RoadBrd_LED_Toggle(BLUE_LED);
    RoadBrd_LED_Toggle(GREEN_LED);
    RoadBrd_LED_Toggle(YELLOW_LED);
#endif
    HAL_Delay(50);
  }
  /* USER CODE END Error_Handler */
}

/************************ (C) COPYRIGHT STMicroelectronics *****END OF FILE****/
